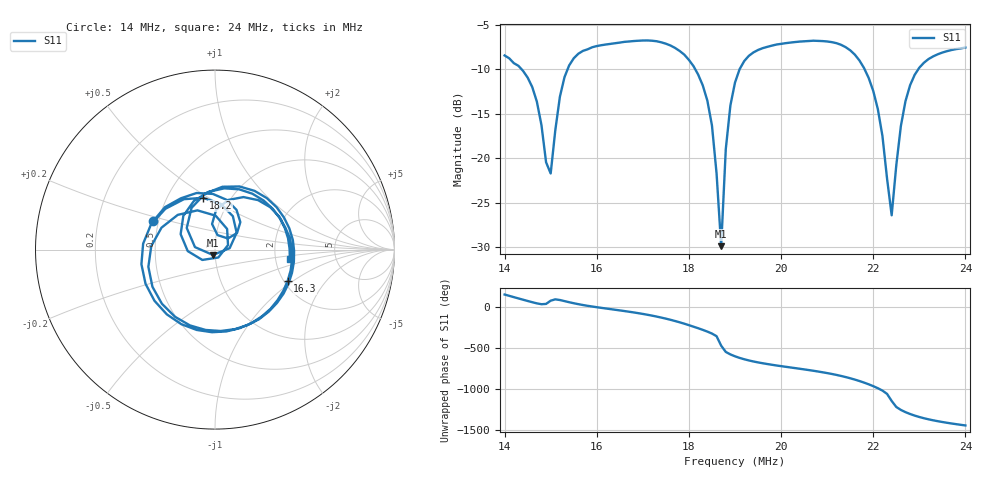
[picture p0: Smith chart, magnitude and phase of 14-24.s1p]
# HZ S RI R 50
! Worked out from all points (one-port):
!   101 points, 14 MHz to 24 MHz, reference 50 ohm
!   lowest |S11| = -29.9 dB at 18.7 MHz (marker M1), VSWR 1.07, Z = 48.8 - j2.93 ohm
!   |S11| at or under -10 dB: 14.37 MHz to 15.37 MHz (993.9 kHz wide, 6.68 % of centre); 18.14 MHz to 19.1 MHz (958.6 kHz wide, 5.15 % of centre); 21.81 MHz to 22.97 MHz (1.16 MHz wide, 5.18 % of centre)
!   S11 on the Smith chart (normalised r, x): 14 MHz: 0.47, +0.17; 16.3 MHz: 2.10, -0.90; 18.2 MHz: 0.75, +0.47; 24 MHz: 2.41, -0.30
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1.4e7  -0.3445 0.1583
1.43e7  -0.1023 0.3153
1.46e7  0.12 0.2213
1.5e7  0.0139 0.0809
1.53e7  0.074 0.2766
1.58e7  0.3916 0.1232
1.63e7  0.405 -0.1738
1.65e7  0.3492 -0.2808
1.72e7  -0.102 -0.4476
1.78e7  -0.4004 0.033
1.82e7  -0.0669 0.2885
1.85e7  0.1207 0.0938
1.87e7  -0.0112 -0.0299
1.88e7  -0.1117 0.0139
1.9e7  -0.1306 0.2327
1.93e7  0.1364 0.3518
1.96e7  0.3435 0.2359
2.03e7  0.4099 -0.1884
2.1e7  0.0319 -0.4535
2.15e7  -0.3486 -0.2072
2.17e7  -0.355 0.0196
2.2e7  -0.0979 0.2186
2.22e7  0.0675 0.115
2.24e7  0.0186 -0.0439
2.26e7  -0.1518 -0.00838
2.28e7  -0.1764 0.1881
2.32e7  0.1347 0.336
2.4e7  0.4173 -0.0511
